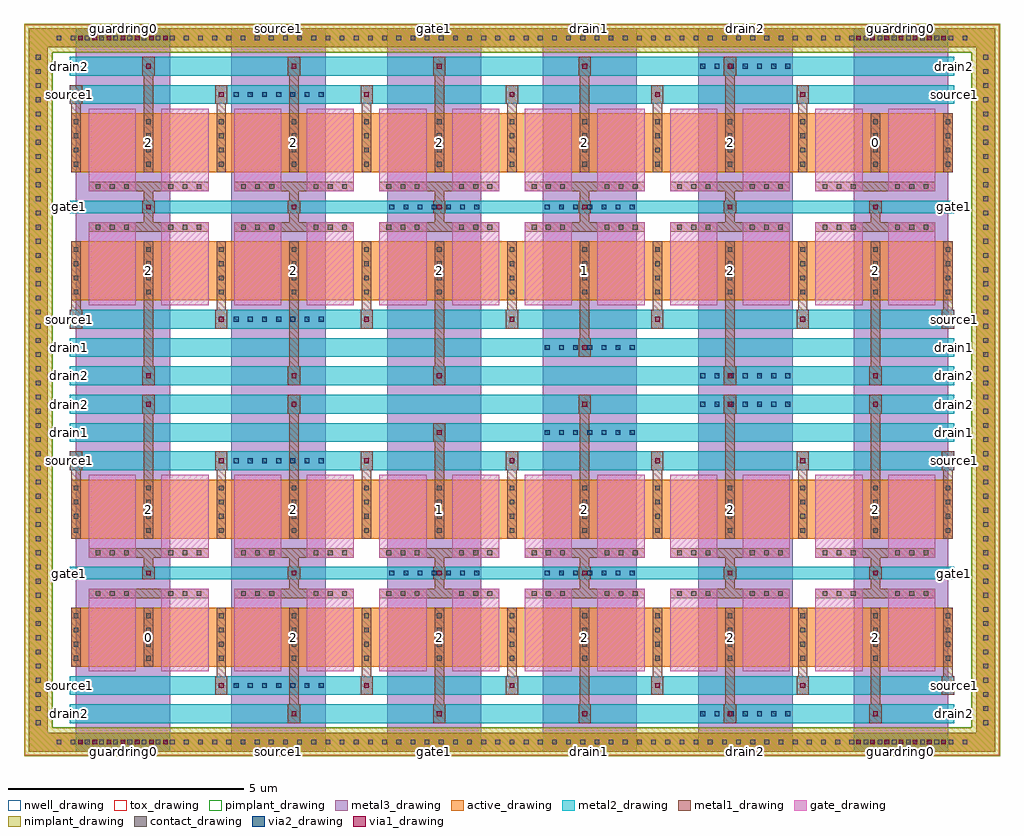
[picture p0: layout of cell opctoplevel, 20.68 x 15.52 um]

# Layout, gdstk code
import gdstk
lib = gdstk.Library(unit=1e-6, precision=1e-09)
def R(c, l, rs):  # rectangles x0, y0, x1, y1
    for r in rs: c.add(gdstk.rectangle(r[:2], r[2:], *l))
def A(c, l, x, y, w, h, nx, ny, dx, dy):  # array of equal rectangles
    R(c, l, [(x+i*dx, y+j*dy, x+i*dx+w, y+j*dy+h) for i in range(nx) for j in range(ny)])
active_drawing = (1, 0)
nwell_drawing = (3, 0)
pimplant_drawing = (4, 0)
nimplant_drawing = (5, 0)
gate_drawing = (6, 0)
contact_drawing = (7, 0)
metal1_drawing = (8, 0)
via1_drawing = (9, 0)
metal2_drawing = (10, 0)
via2_drawing = (11, 0)
metal3_drawing = (12, 0)
tox_drawing = (32, 0)

opctoplevel = lib.new_cell('opctoplevel')
A(opctoplevel, active_drawing, -0.37, 0, 3.28, 1.25, 6, 2, 3.08, 2.71)
A(opctoplevel, active_drawing, -0.37, 7.76, 3.28, 1.25, 6, 2, 3.08, 2.71)
R(opctoplevel, active_drawing, [(-1.27,-1.8,19.21,-1.4), (-1.27,-1.8,-0.87,13.52), (18.81,-1.8,19.21,13.52), (-1.27,13.12,19.21,13.52)])
R(opctoplevel, nwell_drawing, [(-1.37,-1.9,19.31,13.62)])
R(opctoplevel, pimplant_drawing, [(-0.77,-1.3,18.71,13.02)])
R(opctoplevel, nimplant_drawing, [(-1.37,-1.9,19.31,-1.3), (-1.37,-1.9,-0.77,13.62), (18.71,-1.9,19.31,13.62), (-1.37,13.02,19.31,13.62)])
A(opctoplevel, gate_drawing, 0, -0.1, 1, 1.75, 12, 2, 1.54, 2.41)
A(opctoplevel, gate_drawing, 0, 7.66, 1, 1.75, 12, 2, 1.54, 2.41)
A(opctoplevel, contact_drawing, -0.68, -1.65, 0.1, 0.1, 65, 2, 0.3, 14.92)
A(opctoplevel, contact_drawing, -1.12, -1.24, 0.1, 0.1, 1, 48, 0, 0.3)
A(opctoplevel, contact_drawing, 18.96, -1.24, 0.1, 0.1, 1, 48, 0, 0.3)
A(opctoplevel, contact_drawing, -0.32, 0.125, 0.1, 0.1, 3, 4, 1.54, 0.3)
A(opctoplevel, contact_drawing, 2.76, 0.125, 0.1, 0.1, 3, 4, 1.54, 0.3)
A(opctoplevel, contact_drawing, 5.84, 0.125, 0.1, 0.1, 3, 4, 1.54, 0.3)
A(opctoplevel, contact_drawing, 8.92, 0.125, 0.1, 0.1, 3, 4, 1.54, 0.3)
A(opctoplevel, contact_drawing, 12, 0.125, 0.1, 0.1, 3, 4, 1.54, 0.3)
A(opctoplevel, contact_drawing, 15.08, 0.125, 0.1, 0.1, 3, 4, 1.54, 0.3)
A(opctoplevel, contact_drawing, 0.15, 1.5, 0.1, 0.1, 3, 2, 0.3, 0.86)
A(opctoplevel, contact_drawing, 1.69, 1.5, 0.1, 0.1, 3, 2, 0.3, 0.86)
A(opctoplevel, contact_drawing, 3.23, 1.5, 0.1, 0.1, 3, 2, 0.3, 0.86)
A(opctoplevel, contact_drawing, 4.77, 1.5, 0.1, 0.1, 3, 2, 0.3, 0.86)
A(opctoplevel, contact_drawing, 6.31, 1.5, 0.1, 0.1, 3, 2, 0.3, 0.86)
A(opctoplevel, contact_drawing, 7.85, 1.5, 0.1, 0.1, 3, 2, 0.3, 0.86)
A(opctoplevel, contact_drawing, 9.39, 1.5, 0.1, 0.1, 3, 2, 0.3, 0.86)
A(opctoplevel, contact_drawing, 10.93, 1.5, 0.1, 0.1, 3, 2, 0.3, 0.86)
A(opctoplevel, contact_drawing, 12.47, 1.5, 0.1, 0.1, 3, 2, 0.3, 0.86)
A(opctoplevel, contact_drawing, 14.01, 1.5, 0.1, 0.1, 3, 2, 0.3, 0.86)
A(opctoplevel, contact_drawing, 15.55, 1.5, 0.1, 0.1, 3, 2, 0.3, 0.86)
A(opctoplevel, contact_drawing, 17.09, 1.5, 0.1, 0.1, 3, 2, 0.3, 0.86)
A(opctoplevel, contact_drawing, -0.32, 2.835, 0.1, 0.1, 3, 4, 1.54, 0.3)
A(opctoplevel, contact_drawing, 2.76, 2.835, 0.1, 0.1, 3, 4, 1.54, 0.3)
A(opctoplevel, contact_drawing, 5.84, 2.835, 0.1, 0.1, 3, 4, 1.54, 0.3)
A(opctoplevel, contact_drawing, 8.92, 2.835, 0.1, 0.1, 3, 4, 1.54, 0.3)
A(opctoplevel, contact_drawing, 12, 2.835, 0.1, 0.1, 3, 4, 1.54, 0.3)
A(opctoplevel, contact_drawing, 15.08, 2.835, 0.1, 0.1, 3, 4, 1.54, 0.3)
A(opctoplevel, contact_drawing, -0.32, 7.885, 0.1, 0.1, 3, 4, 1.54, 0.3)
A(opctoplevel, contact_drawing, 2.76, 7.885, 0.1, 0.1, 3, 4, 1.54, 0.3)
A(opctoplevel, contact_drawing, 5.84, 7.885, 0.1, 0.1, 3, 4, 1.54, 0.3)
A(opctoplevel, contact_drawing, 8.92, 7.885, 0.1, 0.1, 3, 4, 1.54, 0.3)
A(opctoplevel, contact_drawing, 12, 7.885, 0.1, 0.1, 3, 4, 1.54, 0.3)
A(opctoplevel, contact_drawing, 15.08, 7.885, 0.1, 0.1, 3, 4, 1.54, 0.3)
A(opctoplevel, contact_drawing, 0.15, 9.26, 0.1, 0.1, 3, 2, 0.3, 0.86)
A(opctoplevel, contact_drawing, 1.69, 9.26, 0.1, 0.1, 3, 2, 0.3, 0.86)
A(opctoplevel, contact_drawing, 3.23, 9.26, 0.1, 0.1, 3, 2, 0.3, 0.86)
A(opctoplevel, contact_drawing, 4.77, 9.26, 0.1, 0.1, 3, 2, 0.3, 0.86)
A(opctoplevel, contact_drawing, 6.31, 9.26, 0.1, 0.1, 3, 2, 0.3, 0.86)
A(opctoplevel, contact_drawing, 7.85, 9.26, 0.1, 0.1, 3, 2, 0.3, 0.86)
A(opctoplevel, contact_drawing, 9.39, 9.26, 0.1, 0.1, 3, 2, 0.3, 0.86)
A(opctoplevel, contact_drawing, 10.93, 9.26, 0.1, 0.1, 3, 2, 0.3, 0.86)
A(opctoplevel, contact_drawing, 12.47, 9.26, 0.1, 0.1, 3, 2, 0.3, 0.86)
A(opctoplevel, contact_drawing, 14.01, 9.26, 0.1, 0.1, 3, 2, 0.3, 0.86)
A(opctoplevel, contact_drawing, 15.55, 9.26, 0.1, 0.1, 3, 2, 0.3, 0.86)
A(opctoplevel, contact_drawing, 17.09, 9.26, 0.1, 0.1, 3, 2, 0.3, 0.86)
A(opctoplevel, contact_drawing, -0.32, 10.595, 0.1, 0.1, 3, 4, 1.54, 0.3)
A(opctoplevel, contact_drawing, 2.76, 10.595, 0.1, 0.1, 3, 4, 1.54, 0.3)
A(opctoplevel, contact_drawing, 5.84, 10.595, 0.1, 0.1, 3, 4, 1.54, 0.3)
A(opctoplevel, contact_drawing, 8.92, 10.595, 0.1, 0.1, 3, 4, 1.54, 0.3)
A(opctoplevel, contact_drawing, 12, 10.595, 0.1, 0.1, 3, 4, 1.54, 0.3)
A(opctoplevel, contact_drawing, 15.08, 10.595, 0.1, 0.1, 3, 4, 1.54, 0.3)
A(opctoplevel, metal1_drawing, 4.22, -1.2, 0.26, 0.4, 5, 1, 3.08, 0)
A(opctoplevel, metal1_drawing, 4.25, -1.2, 0.2, 1.2, 5, 1, 3.08, 0)
A(opctoplevel, metal1_drawing, -0.37, 0, 0.2, 1.25, 3, 2, 1.54, 2.71)
A(opctoplevel, metal1_drawing, 2.71, 0, 0.2, 1.25, 3, 2, 1.54, 2.71)
A(opctoplevel, metal1_drawing, 5.79, 0, 0.2, 1.25, 3, 2, 1.54, 2.71)
A(opctoplevel, metal1_drawing, 8.87, 0, 0.2, 1.25, 3, 2, 1.54, 2.71)
A(opctoplevel, metal1_drawing, 11.95, 0, 0.2, 1.25, 3, 2, 1.54, 2.71)
A(opctoplevel, metal1_drawing, 15.03, 0, 0.2, 1.25, 3, 2, 1.54, 2.71)
A(opctoplevel, metal1_drawing, 4.25, 1.65, 0.2, 0.2, 5, 1, 3.08, 0)
A(opctoplevel, metal1_drawing, 1.17, 2.11, 0.2, 0.2, 6, 2, 3.08, 7.3)
A(opctoplevel, metal1_drawing, 10.41, 3.96, 0.2, 1.8, 3, 1, 3.08, 0)
A(opctoplevel, metal1_drawing, 10.38, 5.36, 0.26, 0.4, 3, 1, 3.08, 0)
A(opctoplevel, metal1_drawing, 1.14, 5.96, 0.26, 0.4, 3, 1, 3.08, 0)
A(opctoplevel, metal1_drawing, 1.17, 5.96, 0.2, 1.8, 3, 1, 3.08, 0)
A(opctoplevel, metal1_drawing, -0.37, 7.76, 0.2, 1.25, 3, 2, 1.54, 2.71)
A(opctoplevel, metal1_drawing, 2.71, 7.76, 0.2, 1.25, 3, 2, 1.54, 2.71)
A(opctoplevel, metal1_drawing, 5.79, 7.76, 0.2, 1.25, 3, 2, 1.54, 2.71)
A(opctoplevel, metal1_drawing, 8.87, 7.76, 0.2, 1.25, 3, 2, 1.54, 2.71)
A(opctoplevel, metal1_drawing, 11.95, 7.76, 0.2, 1.25, 3, 2, 1.54, 2.71)
A(opctoplevel, metal1_drawing, 15.03, 7.76, 0.2, 1.25, 3, 2, 1.54, 2.71)
A(opctoplevel, metal1_drawing, 1.17, 9.87, 0.2, 0.2, 5, 1, 3.08, 0)
A(opctoplevel, metal1_drawing, 1.17, 11.72, 0.2, 1.2, 5, 1, 3.08, 0)
A(opctoplevel, metal1_drawing, 1.14, 12.52, 0.26, 0.4, 5, 1, 3.08, 0)
R(opctoplevel, metal1_drawing, [(-1.27,-1.8,19.21,-1.4), (-1.27,-1.8,-0.87,13.52), (-0.27,-1.8,1.73,-1.4), (16.21,-1.8,18.21,-1.4), (18.81,-1.8,19.21,13.52), (2.68,-0.6,2.94,-0.2), (2.71,-0.6,2.91,0), (5.76,-0.6,6.02,-0.2), (5.76,-0.6,6.02,-0.2), (5.79,-0.6,5.99,0), (5.79,-0.6,5.99,0), (8.84,-0.6,9.1,-0.2), (8.84,-0.6,9.1,-0.2), (8.87,-0.6,9.07,0), (8.87,-0.6,9.07,0), (11.92,-0.6,12.18,-0.2), (11.92,-0.6,12.18,-0.2), (11.95,-0.6,12.15,0), (11.95,-0.6,12.15,0), (15,-0.6,15.26,-0.2), (15,-0.6,15.26,-0.2), (15.03,-0.6,15.23,0), (15.03,-0.6,15.23,0), (18.08,-0.6,18.34,-0.2), (18.11,-0.6,18.31,0), (0,1.45,2.54,1.65), (3.08,1.45,5.62,1.65), (3.08,1.45,5.62,1.65), (6.16,1.45,8.7,1.65), (6.16,1.45,8.7,1.65), (9.24,1.45,11.78,1.65), (9.24,1.45,11.78,1.65), (12.32,1.45,14.86,1.65), (12.32,1.45,14.86,1.65), (15.4,1.45,17.94,1.65), (15.4,1.45,17.94,1.65), (1.14,1.85,1.4,2.11), (4.22,1.85,4.48,2.11), (4.22,1.85,4.48,2.11), (7.3,1.85,7.56,2.11), (7.3,1.85,7.56,2.11), (10.38,1.85,10.64,2.11), (10.38,1.85,10.64,2.11), (13.46,1.85,13.72,2.11), (13.46,1.85,13.72,2.11), (16.54,1.85,16.8,2.11), (16.54,1.85,16.8,2.11), (0,2.31,2.54,2.51), (0,2.31,2.54,2.51), (3.08,2.31,5.62,2.51), (3.08,2.31,5.62,2.51), (6.16,2.31,8.7,2.51), (6.16,2.31,8.7,2.51), (9.24,2.31,11.78,2.51), (9.24,2.31,11.78,2.51), (12.32,2.31,14.86,2.51), (12.32,2.31,14.86,2.51), (15.4,2.31,17.94,2.51), (15.4,2.31,17.94,2.51), (-0.37,3.96,-0.17,4.56), (1.17,3.96,1.37,5.76), (2.71,3.96,2.91,4.56), (2.71,3.96,2.91,4.56), (4.25,3.96,4.45,5.76), (5.79,3.96,5.99,4.56), (5.79,3.96,5.99,4.56), (7.33,3.96,7.53,5.16), (8.87,3.96,9.07,4.56), (8.87,3.96,9.07,4.56), (11.95,3.96,12.15,4.56), (11.95,3.96,12.15,4.56), (15.03,3.96,15.23,4.56), (15.03,3.96,15.23,4.56), (18.11,3.96,18.31,4.56), (-0.4,4.16,-0.14,4.56), (2.68,4.16,2.94,4.56), (2.68,4.16,2.94,4.56), (5.76,4.16,6.02,4.56), (5.76,4.16,6.02,4.56), (8.84,4.16,9.1,4.56), (8.84,4.16,9.1,4.56), (11.92,4.16,12.18,4.56), (11.92,4.16,12.18,4.56), (15,4.16,15.26,4.56), (15,4.16,15.26,4.56), (18.08,4.16,18.34,4.56), (7.3,4.76,7.56,5.16), (1.14,5.36,1.4,5.76), (4.22,5.36,4.48,5.76), (13.46,5.96,13.72,6.36), (13.49,5.96,13.69,7.76), (16.54,5.96,16.8,6.36), (16.57,5.96,16.77,7.76), (10.38,6.56,10.64,6.96), (10.41,6.56,10.61,7.76), (-0.4,7.16,-0.14,7.56), (-0.37,7.16,-0.17,7.76), (2.68,7.16,2.94,7.56), (2.68,7.16,2.94,7.56), (2.71,7.16,2.91,7.76), (2.71,7.16,2.91,7.76), (5.76,7.16,6.02,7.56), (5.76,7.16,6.02,7.56), (5.79,7.16,5.99,7.76), (5.79,7.16,5.99,7.76), (8.84,7.16,9.1,7.56), (8.84,7.16,9.1,7.56), (8.87,7.16,9.07,7.76), (8.87,7.16,9.07,7.76), (11.92,7.16,12.18,7.56), (11.92,7.16,12.18,7.56), (11.95,7.16,12.15,7.76), (11.95,7.16,12.15,7.76), (15,7.16,15.26,7.56), (15,7.16,15.26,7.56), (15.03,7.16,15.23,7.76), (15.03,7.16,15.23,7.76), (18.08,7.16,18.34,7.56), (18.11,7.16,18.31,7.76), (0,9.21,2.54,9.41), (0,9.21,2.54,9.41), (3.08,9.21,5.62,9.41), (3.08,9.21,5.62,9.41), (6.16,9.21,8.7,9.41), (6.16,9.21,8.7,9.41), (9.24,9.21,11.78,9.41), (9.24,9.21,11.78,9.41), (12.32,9.21,14.86,9.41), (12.32,9.21,14.86,9.41), (15.4,9.21,17.94,9.41), (15.4,9.21,17.94,9.41), (1.14,9.61,1.4,9.87), (1.14,9.61,1.4,9.87), (4.22,9.61,4.48,9.87), (4.22,9.61,4.48,9.87), (7.3,9.61,7.56,9.87), (7.3,9.61,7.56,9.87), (10.38,9.61,10.64,9.87), (10.38,9.61,10.64,9.87), (13.46,9.61,13.72,9.87), (13.46,9.61,13.72,9.87), (16.54,9.61,16.8,9.87), (0,10.07,2.54,10.27), (0,10.07,2.54,10.27), (3.08,10.07,5.62,10.27), (3.08,10.07,5.62,10.27), (6.16,10.07,8.7,10.27), (6.16,10.07,8.7,10.27), (9.24,10.07,11.78,10.27), (9.24,10.07,11.78,10.27), (12.32,10.07,14.86,10.27), (12.32,10.07,14.86,10.27), (15.4,10.07,17.94,10.27), (-0.37,11.72,-0.17,12.32), (2.71,11.72,2.91,12.32), (2.71,11.72,2.91,12.32), (5.79,11.72,5.99,12.32), (5.79,11.72,5.99,12.32), (8.87,11.72,9.07,12.32), (8.87,11.72,9.07,12.32), (11.95,11.72,12.15,12.32), (11.95,11.72,12.15,12.32), (15.03,11.72,15.23,12.32), (-0.4,11.92,-0.14,12.32), (2.68,11.92,2.94,12.32), (2.68,11.92,2.94,12.32), (5.76,11.92,6.02,12.32), (5.76,11.92,6.02,12.32), (8.84,11.92,9.1,12.32), (8.84,11.92,9.1,12.32), (11.92,11.92,12.18,12.32), (11.92,11.92,12.18,12.32), (15,11.92,15.26,12.32), (-1.27,13.12,19.21,13.52), (-0.27,13.12,1.73,13.52), (16.21,13.12,18.21,13.52)])
A(opctoplevel, via1_drawing, -0.22, -1.65, 0.1, 0.1, 7, 2, 0.3, 14.92)
A(opctoplevel, via1_drawing, 16.26, -1.65, 0.1, 0.1, 7, 2, 0.3, 14.92)
A(opctoplevel, via1_drawing, 4.3, -1.05, 0.1, 0.1, 5, 1, 3.08, 0)
A(opctoplevel, via1_drawing, 10.46, 5.51, 0.1, 0.1, 3, 1, 3.08, 0)
A(opctoplevel, via1_drawing, 1.22, 6.11, 0.1, 0.1, 3, 1, 3.08, 0)
A(opctoplevel, via1_drawing, 1.22, 12.67, 0.1, 0.1, 5, 1, 3.08, 0)
R(opctoplevel, via1_drawing, [(2.76,-0.45,2.86,-0.35), (5.84,-0.45,5.94,-0.35), (5.84,-0.45,5.94,-0.35), (8.92,-0.45,9.02,-0.35), (8.92,-0.45,9.02,-0.35), (12,-0.45,12.1,-0.35), (12,-0.45,12.1,-0.35), (15.08,-0.45,15.18,-0.35), (15.08,-0.45,15.18,-0.35), (18.16,-0.45,18.26,-0.35), (1.22,1.93,1.32,2.03), (4.3,1.93,4.4,2.03), (4.3,1.93,4.4,2.03), (7.38,1.93,7.48,2.03), (7.38,1.93,7.48,2.03), (10.46,1.93,10.56,2.03), (10.46,1.93,10.56,2.03), (13.54,1.93,13.64,2.03), (13.54,1.93,13.64,2.03), (16.62,1.93,16.72,2.03), (16.62,1.93,16.72,2.03), (-0.32,4.31,-0.22,4.41), (2.76,4.31,2.86,4.41), (2.76,4.31,2.86,4.41), (5.84,4.31,5.94,4.41), (5.84,4.31,5.94,4.41), (8.92,4.31,9.02,4.41), (8.92,4.31,9.02,4.41), (12,4.31,12.1,4.41), (12,4.31,12.1,4.41), (15.08,4.31,15.18,4.41), (15.08,4.31,15.18,4.41), (18.16,4.31,18.26,4.41), (7.38,4.91,7.48,5.01), (1.22,5.51,1.32,5.61), (4.3,5.51,4.4,5.61), (13.54,6.11,13.64,6.21), (16.62,6.11,16.72,6.21), (10.46,6.71,10.56,6.81), (-0.32,7.31,-0.22,7.41), (2.76,7.31,2.86,7.41), (2.76,7.31,2.86,7.41), (5.84,7.31,5.94,7.41), (5.84,7.31,5.94,7.41), (8.92,7.31,9.02,7.41), (8.92,7.31,9.02,7.41), (12,7.31,12.1,7.41), (12,7.31,12.1,7.41), (15.08,7.31,15.18,7.41), (15.08,7.31,15.18,7.41), (18.16,7.31,18.26,7.41), (1.22,9.69,1.32,9.79), (1.22,9.69,1.32,9.79), (4.3,9.69,4.4,9.79), (4.3,9.69,4.4,9.79), (7.38,9.69,7.48,9.79), (7.38,9.69,7.48,9.79), (10.46,9.69,10.56,9.79), (10.46,9.69,10.56,9.79), (13.54,9.69,13.64,9.79), (13.54,9.69,13.64,9.79), (16.62,9.69,16.72,9.79), (-0.32,12.07,-0.22,12.17), (2.76,12.07,2.86,12.17), (2.76,12.07,2.86,12.17), (5.84,12.07,5.94,12.17), (5.84,12.07,5.94,12.17), (8.92,12.07,9.02,12.17), (8.92,12.07,9.02,12.17), (12,12.07,12.1,12.17), (12,12.07,12.1,12.17), (15.08,12.07,15.18,12.17)])
A(opctoplevel, metal2_drawing, 4.22, -1.2, 0.26, 0.4, 5, 1, 3.08, 0)
A(opctoplevel, metal2_drawing, -0.4, 4.16, 18.74, 0.4, 1, 6, 0, 0.6)
A(opctoplevel, metal2_drawing, 10.38, 5.36, 0.26, 0.4, 3, 1, 3.08, 0)
A(opctoplevel, metal2_drawing, 1.14, 5.96, 0.26, 0.4, 3, 1, 3.08, 0)
A(opctoplevel, metal2_drawing, 1.14, 12.52, 0.26, 0.4, 5, 1, 3.08, 0)
R(opctoplevel, metal2_drawing, [(-0.27,-1.8,1.73,-1.4), (16.21,-1.8,18.21,-1.4), (-0.4,-1.2,18.34,-0.8), (-0.4,-0.6,18.34,-0.2), (2.68,-0.6,2.94,-0.2), (5.76,-0.6,6.02,-0.2), (5.76,-0.6,6.02,-0.2), (8.84,-0.6,9.1,-0.2), (8.84,-0.6,9.1,-0.2), (11.92,-0.6,12.18,-0.2), (11.92,-0.6,12.18,-0.2), (15,-0.6,15.26,-0.2), (15,-0.6,15.26,-0.2), (18.08,-0.6,18.34,-0.2), (-0.4,1.85,18.34,2.11), (1.14,1.85,1.4,2.11), (4.22,1.85,4.48,2.11), (4.22,1.85,4.48,2.11), (7.3,1.85,7.56,2.11), (7.3,1.85,7.56,2.11), (10.38,1.85,10.64,2.11), (10.38,1.85,10.64,2.11), (13.46,1.85,13.72,2.11), (13.46,1.85,13.72,2.11), (16.54,1.85,16.8,2.11), (16.54,1.85,16.8,2.11), (-0.4,4.16,-0.14,4.56), (2.68,4.16,2.94,4.56), (2.68,4.16,2.94,4.56), (5.76,4.16,6.02,4.56), (5.76,4.16,6.02,4.56), (8.84,4.16,9.1,4.56), (8.84,4.16,9.1,4.56), (11.92,4.16,12.18,4.56), (11.92,4.16,12.18,4.56), (15,4.16,15.26,4.56), (15,4.16,15.26,4.56), (18.08,4.16,18.34,4.56), (7.3,4.76,7.56,5.16), (1.14,5.36,1.4,5.76), (4.22,5.36,4.48,5.76), (13.46,5.96,13.72,6.36), (16.54,5.96,16.8,6.36), (10.38,6.56,10.64,6.96), (-0.4,7.16,-0.14,7.56), (2.68,7.16,2.94,7.56), (2.68,7.16,2.94,7.56), (5.76,7.16,6.02,7.56), (5.76,7.16,6.02,7.56), (8.84,7.16,9.1,7.56), (8.84,7.16,9.1,7.56), (11.92,7.16,12.18,7.56), (11.92,7.16,12.18,7.56), (15,7.16,15.26,7.56), (15,7.16,15.26,7.56), (18.08,7.16,18.34,7.56), (-0.4,9.61,18.34,9.87), (1.14,9.61,1.4,9.87), (1.14,9.61,1.4,9.87), (4.22,9.61,4.48,9.87), (4.22,9.61,4.48,9.87), (7.3,9.61,7.56,9.87), (7.3,9.61,7.56,9.87), (10.38,9.61,10.64,9.87), (10.38,9.61,10.64,9.87), (13.46,9.61,13.72,9.87), (13.46,9.61,13.72,9.87), (16.54,9.61,16.8,9.87), (-0.4,11.92,18.34,12.32), (-0.4,11.92,-0.14,12.32), (2.68,11.92,2.94,12.32), (2.68,11.92,2.94,12.32), (5.76,11.92,6.02,12.32), (5.76,11.92,6.02,12.32), (8.84,11.92,9.1,12.32), (8.84,11.92,9.1,12.32), (11.92,11.92,12.18,12.32), (11.92,11.92,12.18,12.32), (15,11.92,15.26,12.32), (-0.4,12.52,18.34,12.92), (-0.27,13.12,1.73,13.52), (16.21,13.12,18.21,13.52)])
A(opctoplevel, via2_drawing, -0.22, -1.65, 0.1, 0.1, 7, 2, 0.3, 14.92)
A(opctoplevel, via2_drawing, 16.26, -1.65, 0.1, 0.1, 7, 2, 0.3, 14.92)
A(opctoplevel, via2_drawing, 12.964, -1.05, 0.1, 0.1, 7, 2, 0.3, 6.56)
A(opctoplevel, via2_drawing, 3.076, -0.45, 0.1, 0.1, 7, 2, 0.3, 4.76)
A(opctoplevel, via2_drawing, 9.668, 4.91, 0.1, 0.1, 7, 2, 0.3, 1.8)
A(opctoplevel, via2_drawing, 12.964, 6.11, 0.1, 0.1, 7, 2, 0.3, 6.56)
A(opctoplevel, via2_drawing, 3.076, 7.31, 0.1, 0.1, 7, 2, 0.3, 4.76)
R(opctoplevel, via2_drawing, [(6.372,1.93,6.472,2.03), (6.372,1.93,6.472,2.03), (6.672,1.93,6.772,2.03), (6.672,1.93,6.772,2.03), (6.972,1.93,7.072,2.03), (6.972,1.93,7.072,2.03), (7.272,1.93,7.372,2.03), (7.272,1.93,7.372,2.03), (7.572,1.93,7.672,2.03), (7.572,1.93,7.672,2.03), (7.872,1.93,7.972,2.03), (7.872,1.93,7.972,2.03), (8.172,1.93,8.272,2.03), (8.172,1.93,8.272,2.03), (9.668,1.93,9.768,2.03), (9.668,1.93,9.768,2.03), (9.668,1.93,9.768,2.03), (9.668,1.93,9.768,2.03), (9.668,1.93,9.768,2.03), (9.668,1.93,9.768,2.03), (9.668,1.93,9.768,2.03), (9.668,1.93,9.768,2.03), (9.668,1.93,9.768,2.03), (9.668,1.93,9.768,2.03), (9.668,1.93,9.768,2.03), (9.968,1.93,10.068,2.03), (9.968,1.93,10.068,2.03), (9.968,1.93,10.068,2.03), (9.968,1.93,10.068,2.03), (9.968,1.93,10.068,2.03), (9.968,1.93,10.068,2.03), (9.968,1.93,10.068,2.03), (9.968,1.93,10.068,2.03), (9.968,1.93,10.068,2.03), (9.968,1.93,10.068,2.03), (9.968,1.93,10.068,2.03), (10.268,1.93,10.368,2.03), (10.268,1.93,10.368,2.03), (10.268,1.93,10.368,2.03), (10.268,1.93,10.368,2.03), (10.268,1.93,10.368,2.03), (10.268,1.93,10.368,2.03), (10.268,1.93,10.368,2.03), (10.268,1.93,10.368,2.03), (10.268,1.93,10.368,2.03), (10.268,1.93,10.368,2.03), (10.268,1.93,10.368,2.03), (10.568,1.93,10.668,2.03), (10.568,1.93,10.668,2.03), (10.568,1.93,10.668,2.03), (10.568,1.93,10.668,2.03), (10.568,1.93,10.668,2.03), (10.568,1.93,10.668,2.03), (10.568,1.93,10.668,2.03), (10.568,1.93,10.668,2.03), (10.568,1.93,10.668,2.03), (10.568,1.93,10.668,2.03), (10.568,1.93,10.668,2.03), (10.868,1.93,10.968,2.03), (10.868,1.93,10.968,2.03), (10.868,1.93,10.968,2.03), (10.868,1.93,10.968,2.03), (10.868,1.93,10.968,2.03), (10.868,1.93,10.968,2.03), (10.868,1.93,10.968,2.03), (10.868,1.93,10.968,2.03), (10.868,1.93,10.968,2.03), (10.868,1.93,10.968,2.03), (10.868,1.93,10.968,2.03), (11.168,1.93,11.268,2.03), (11.168,1.93,11.268,2.03), (11.168,1.93,11.268,2.03), (11.168,1.93,11.268,2.03), (11.168,1.93,11.268,2.03), (11.168,1.93,11.268,2.03), (11.168,1.93,11.268,2.03), (11.168,1.93,11.268,2.03), (11.168,1.93,11.268,2.03), (11.168,1.93,11.268,2.03), (11.168,1.93,11.268,2.03), (11.468,1.93,11.568,2.03), (11.468,1.93,11.568,2.03), (11.468,1.93,11.568,2.03), (11.468,1.93,11.568,2.03), (11.468,1.93,11.568,2.03), (11.468,1.93,11.568,2.03), (11.468,1.93,11.568,2.03), (11.468,1.93,11.568,2.03), (11.468,1.93,11.568,2.03), (11.468,1.93,11.568,2.03), (11.468,1.93,11.568,2.03), (6.372,9.69,6.472,9.79), (6.372,9.69,6.472,9.79), (6.672,9.69,6.772,9.79), (6.672,9.69,6.772,9.79), (6.972,9.69,7.072,9.79), (6.972,9.69,7.072,9.79), (7.272,9.69,7.372,9.79), (7.272,9.69,7.372,9.79), (7.572,9.69,7.672,9.79), (7.572,9.69,7.672,9.79), (7.872,9.69,7.972,9.79), (7.872,9.69,7.972,9.79), (8.172,9.69,8.272,9.79), (8.172,9.69,8.272,9.79), (9.668,9.69,9.768,9.79), (9.668,9.69,9.768,9.79), (9.668,9.69,9.768,9.79), (9.668,9.69,9.768,9.79), (9.668,9.69,9.768,9.79), (9.668,9.69,9.768,9.79), (9.668,9.69,9.768,9.79), (9.668,9.69,9.768,9.79), (9.668,9.69,9.768,9.79), (9.668,9.69,9.768,9.79), (9.668,9.69,9.768,9.79), (9.968,9.69,10.068,9.79), (9.968,9.69,10.068,9.79), (9.968,9.69,10.068,9.79), (9.968,9.69,10.068,9.79), (9.968,9.69,10.068,9.79), (9.968,9.69,10.068,9.79), (9.968,9.69,10.068,9.79), (9.968,9.69,10.068,9.79), (9.968,9.69,10.068,9.79), (9.968,9.69,10.068,9.79), (9.968,9.69,10.068,9.79), (10.268,9.69,10.368,9.79), (10.268,9.69,10.368,9.79), (10.268,9.69,10.368,9.79), (10.268,9.69,10.368,9.79), (10.268,9.69,10.368,9.79), (10.268,9.69,10.368,9.79), (10.268,9.69,10.368,9.79), (10.268,9.69,10.368,9.79), (10.268,9.69,10.368,9.79), (10.268,9.69,10.368,9.79), (10.268,9.69,10.368,9.79), (10.568,9.69,10.668,9.79), (10.568,9.69,10.668,9.79), (10.568,9.69,10.668,9.79), (10.568,9.69,10.668,9.79), (10.568,9.69,10.668,9.79), (10.568,9.69,10.668,9.79), (10.568,9.69,10.668,9.79), (10.568,9.69,10.668,9.79), (10.568,9.69,10.668,9.79), (10.568,9.69,10.668,9.79), (10.568,9.69,10.668,9.79), (10.868,9.69,10.968,9.79), (10.868,9.69,10.968,9.79), (10.868,9.69,10.968,9.79), (10.868,9.69,10.968,9.79), (10.868,9.69,10.968,9.79), (10.868,9.69,10.968,9.79), (10.868,9.69,10.968,9.79), (10.868,9.69,10.968,9.79), (10.868,9.69,10.968,9.79), (10.868,9.69,10.968,9.79), (10.868,9.69,10.968,9.79), (11.168,9.69,11.268,9.79), (11.168,9.69,11.268,9.79), (11.168,9.69,11.268,9.79), (11.168,9.69,11.268,9.79), (11.168,9.69,11.268,9.79), (11.168,9.69,11.268,9.79), (11.168,9.69,11.268,9.79), (11.168,9.69,11.268,9.79), (11.168,9.69,11.268,9.79), (11.168,9.69,11.268,9.79), (11.168,9.69,11.268,9.79), (11.468,9.69,11.568,9.79), (11.468,9.69,11.568,9.79), (11.468,9.69,11.568,9.79), (11.468,9.69,11.568,9.79), (11.468,9.69,11.568,9.79), (11.468,9.69,11.568,9.79), (11.468,9.69,11.568,9.79), (11.468,9.69,11.568,9.79), (11.468,9.69,11.568,9.79), (11.468,9.69,11.568,9.79), (11.468,9.69,11.568,9.79)])
A(opctoplevel, metal3_drawing, -0.27, -1.8, 2, 15.32, 6, 1, 3.296, 0)
R(opctoplevel, metal3_drawing, [(-0.27,-1.8,1.73,-1.4), (16.21,-1.8,18.21,-1.4), (-0.27,13.12,1.73,13.52), (16.21,13.12,18.21,13.52)])
R(opctoplevel, tox_drawing, [(-1.35,-1.88,19.29,13.6)])
opctoplevel.add(gdstk.Label('0', (1.27,0.625), layer=234, texttype=0))
opctoplevel.add(gdstk.Label('2', (4.35,0.625), layer=234, texttype=0))
opctoplevel.add(gdstk.Label('2', (7.43,0.625), layer=234, texttype=0))
opctoplevel.add(gdstk.Label('2', (10.51,0.625), layer=234, texttype=0))
opctoplevel.add(gdstk.Label('2', (13.59,0.625), layer=234, texttype=0))
opctoplevel.add(gdstk.Label('2', (16.67,0.625), layer=234, texttype=0))
opctoplevel.add(gdstk.Label('2', (1.27,3.335), layer=234, texttype=0))
opctoplevel.add(gdstk.Label('2', (4.35,3.335), layer=234, texttype=0))
opctoplevel.add(gdstk.Label('1', (7.43,3.335), layer=234, texttype=0))
opctoplevel.add(gdstk.Label('2', (10.51,3.335), layer=234, texttype=0))
opctoplevel.add(gdstk.Label('2', (13.59,3.335), layer=234, texttype=0))
opctoplevel.add(gdstk.Label('2', (16.67,3.335), layer=234, texttype=0))
opctoplevel.add(gdstk.Label('2', (1.27,8.385), layer=234, texttype=0))
opctoplevel.add(gdstk.Label('2', (4.35,8.385), layer=234, texttype=0))
opctoplevel.add(gdstk.Label('2', (7.43,8.385), layer=234, texttype=0))
opctoplevel.add(gdstk.Label('1', (10.51,8.385), layer=234, texttype=0))
opctoplevel.add(gdstk.Label('2', (13.59,8.385), layer=234, texttype=0))
opctoplevel.add(gdstk.Label('2', (16.67,8.385), layer=234, texttype=0))
opctoplevel.add(gdstk.Label('2', (1.27,11.095), layer=234, texttype=0))
opctoplevel.add(gdstk.Label('2', (4.35,11.095), layer=234, texttype=0))
opctoplevel.add(gdstk.Label('2', (7.43,11.095), layer=234, texttype=0))
opctoplevel.add(gdstk.Label('2', (10.51,11.095), layer=234, texttype=0))
opctoplevel.add(gdstk.Label('2', (13.59,11.095), layer=234, texttype=0))
opctoplevel.add(gdstk.Label('0', (16.67,11.095), layer=234, texttype=0))
opctoplevel.add(gdstk.Label('gate1', (-0.4,1.98), layer=10, texttype=0))
opctoplevel.add(gdstk.Label('gate1', (18.34,1.98), layer=10, texttype=0))
opctoplevel.add(gdstk.Label('gate1', (-0.4,9.74), layer=10, texttype=0))
opctoplevel.add(gdstk.Label('gate1', (18.34,9.74), layer=10, texttype=0))
opctoplevel.add(gdstk.Label('source1', (-0.4,-0.4), layer=10, texttype=0))
opctoplevel.add(gdstk.Label('source1', (18.34,-0.4), layer=10, texttype=0))
opctoplevel.add(gdstk.Label('drain2', (-0.4,-1), layer=10, texttype=0))
opctoplevel.add(gdstk.Label('drain2', (18.34,-1), layer=10, texttype=0))
opctoplevel.add(gdstk.Label('source1', (-0.4,4.36), layer=10, texttype=0))
opctoplevel.add(gdstk.Label('source1', (18.34,4.36), layer=10, texttype=0))
opctoplevel.add(gdstk.Label('drain1', (-0.4,4.96), layer=10, texttype=0))
opctoplevel.add(gdstk.Label('drain1', (18.34,4.96), layer=10, texttype=0))
opctoplevel.add(gdstk.Label('drain2', (-0.4,5.56), layer=10, texttype=0))
opctoplevel.add(gdstk.Label('drain2', (18.34,5.56), layer=10, texttype=0))
opctoplevel.add(gdstk.Label('source1', (-0.4,7.36), layer=10, texttype=0))
opctoplevel.add(gdstk.Label('source1', (18.34,7.36), layer=10, texttype=0))
opctoplevel.add(gdstk.Label('drain1', (-0.4,6.76), layer=10, texttype=0))
opctoplevel.add(gdstk.Label('drain1', (18.34,6.76), layer=10, texttype=0))
opctoplevel.add(gdstk.Label('drain2', (-0.4,6.16), layer=10, texttype=0))
opctoplevel.add(gdstk.Label('drain2', (18.34,6.16), layer=10, texttype=0))
opctoplevel.add(gdstk.Label('source1', (-0.4,12.12), layer=10, texttype=0))
opctoplevel.add(gdstk.Label('source1', (18.34,12.12), layer=10, texttype=0))
opctoplevel.add(gdstk.Label('drain2', (-0.4,12.72), layer=10, texttype=0))
opctoplevel.add(gdstk.Label('drain2', (18.34,12.72), layer=10, texttype=0))
opctoplevel.add(gdstk.Label('guardring0', (0.73,-1.8), layer=12, texttype=0))
opctoplevel.add(gdstk.Label('guardring0', (0.73,13.52), layer=12, texttype=0))
opctoplevel.add(gdstk.Label('source1', (4.026,-1.8), layer=12, texttype=0))
opctoplevel.add(gdstk.Label('source1', (4.026,13.52), layer=12, texttype=0))
opctoplevel.add(gdstk.Label('gate1', (7.322,-1.8), layer=12, texttype=0))
opctoplevel.add(gdstk.Label('gate1', (7.322,13.52), layer=12, texttype=0))
opctoplevel.add(gdstk.Label('drain1', (10.618,-1.8), layer=12, texttype=0))
opctoplevel.add(gdstk.Label('drain1', (10.618,13.52), layer=12, texttype=0))
opctoplevel.add(gdstk.Label('drain2', (13.914,-1.8), layer=12, texttype=0))
opctoplevel.add(gdstk.Label('drain2', (13.914,13.52), layer=12, texttype=0))
opctoplevel.add(gdstk.Label('guardring0', (17.21,-1.8), layer=12, texttype=0))
opctoplevel.add(gdstk.Label('guardring0', (17.21,13.52), layer=12, texttype=0))

lib.write_gds('opctoplevel.gds')
